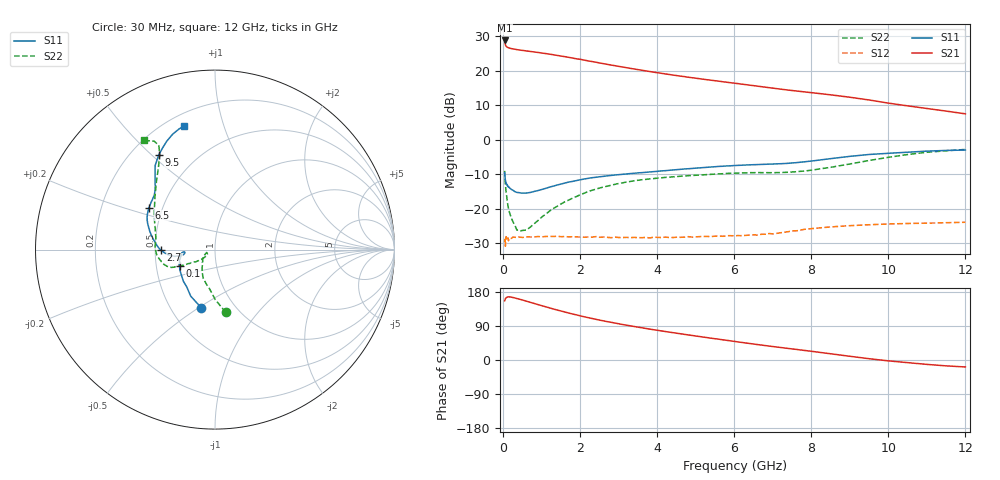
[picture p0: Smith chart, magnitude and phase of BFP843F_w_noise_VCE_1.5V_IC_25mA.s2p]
! Infineon Technologies  Discrete & RF Semiconductors
! BFP843F
! VCE =  1.5 V,  IC =  25 mA
! Common Emitter S-Parameters:  Aug 2013
# GHz  S  MA  R  50
!  f  S11  S21  S12  S22
! GHz  MAG  ANG  MAG  ANG  MAG  ANG  MAG  ANG
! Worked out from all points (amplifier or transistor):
!   103 points, 30 MHz to 12 GHz, reference 50 ohm
!   highest |S21| = 28.8 dB at 30 MHz (marker M1)
!   |S21| within 3 dB of that: start of sweep to 571 MHz
!   unconditionally stable (mu >= 1): 123.3 MHz to end of sweep
!   at 400 MHz: K = 1.02, MAG = 26.3 dB, |S12| = -28.2 dB
!   at 3.7 GHz: K = 1.24, MAG = 21.2 dB, |S12| = -28.3 dB
!   at 12 GHz: K = 1.20, MAG = 13.0 dB, |S12| = -23.9 dB
!   lowest NFmin = 0.98 dB at 450 MHz
!   S11 on the Smith chart (normalised r, x): 30 MHz: 0.70, -0.51; 100 MHz: 0.66, -0.13; 2.7 GHz: 0.54, -0.00; 6.5 GHz: 0.42, +0.24; 9.5 GHz: 0.31, +0.53; 12 GHz: 0.27, +0.74
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0.03  0.3333 -103.2  27.56 156.2  0.0327 26.0  0.3546 -80.3
0.04  0.2927 -117.5  25.27 158.3  0.036 19.6  0.2789 -89.7
0.05  0.2608 -127.1  23.9 161.7  0.0287 19.8  0.2231 -97.4
0.07  0.2348 -142.8  22.7 164.3  0.0395 10.0  0.1735 -112.0
0.1  0.2164 -154.5  21.94 166.0  0.0356 12.6  0.1233 -125.5
0.13  0.2073 -161.1  21.59 166.6  0.0344 7.2  0.1018 -134.2
0.2  0.1915 -171.0  21.01 165.9  0.0371 4.6  0.0746 -148.8
0.45  0.1694 -175.6  19.92 159.5  0.0386 4.9  0.048 -155.5
0.9  0.184 -170.5  18.46 146.1  0.0396 3.6  0.0677 -143.8
1.2  0.2064 -169.5  17.45 137.4  0.0397 3.2  0.0928 -144.8
1.6  0.2365 -171.3  16.04 126.5  0.0396 4.0  0.127 -147.5
2.1  0.2704 -175.1  14.3 114.0  0.0387 4.2  0.1684 -152.4
2.7  0.3002 -179.4  12.39 101.2  0.0385 4.5  0.2128 -155.0
3.4  0.3275 175.0  10.62 88.3  0.0385 7.3  0.2551 -157.3
4.1  0.3539 169.3  9.212 76.8  0.0383 10.0  0.2812 -160.6
5.1  0.3919 160.9  7.677 61.8  0.0395 13.9  0.3076 -168.3
6.1  0.426 152.0  6.517 47.6  0.0409 18.1  0.3292 -178.0
6.5  0.4357 147.5  6.099 42.1  0.0419 19.2  0.3337 177.7
8.5  0.5332 128.8  4.487 16.4  0.0546 23.1  0.3991 148.0
9.5  0.6129 120.8  3.778 3.4  0.0587 19.6  0.5011 130.6
10.5  0.661 114.0  3.104 -7.0  0.0612 17.7  0.6117 120.2
12  0.7097 104.3  2.379 -18.4  0.0638 18.4  0.7252 123.0
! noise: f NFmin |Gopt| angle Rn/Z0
0.45  0.98  0.13  176  0.14
0.9  0.99  0.14  178  0.15
1.5  1.02  0.16  -175  0.15
1.9  1.06  0.17  -172  0.15
2.4  1.09  0.18  -168  0.16
3.5  1.15  0.18  -165  0.21
5.5  1.25  0.23  -141  0.27
10  1.76  0.4  -102  0.36
